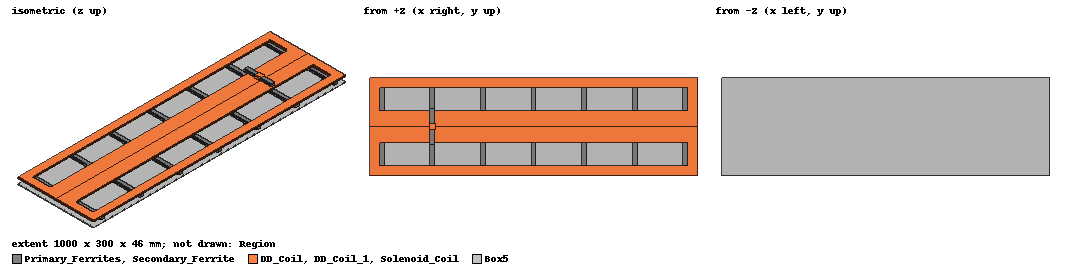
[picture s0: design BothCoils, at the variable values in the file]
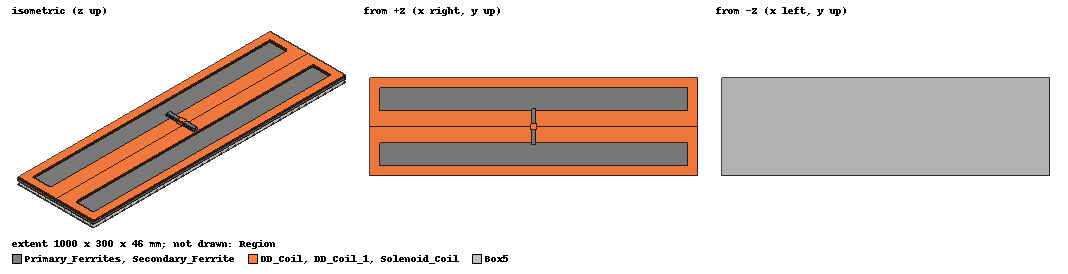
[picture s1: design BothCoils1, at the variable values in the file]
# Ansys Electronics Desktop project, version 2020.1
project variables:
  $P1 = 10mm
  $track_width = 300mm
  $box_width = ($track_width - 2*$parameter_2 - $parameter_1) / 2  # Do not change -Width of inner gaps
  $coil_diameter = 5mm  # Thickness of coil
  $parameter_1 = 100mm  # DD Coil Centre width
  $parameter_2 = 30mm  # DD Coil side width
  $Parameter_3 = 109mm  # Ferrite length secondary
  $Parameter_4 = 20mm  # Coil width secondary
  $parameter_5 = ($track_length - 2 * $parameter_2-15mm) / ($Num_Ferrites - 1)  # Do not change - spacing between ferrites
  $Parameter_6 = 300mm  # Ferrite length Primary 109 or 218
  $Num_Ferrites = 7  # ((1000mm - 2 * $parameter_2) / ($parameter_5)) + 1
  $track_length = 1000mm  # Length of the track
  $Air_Gap = 15mm  # Height of secondary solenoid above primary DD coil
  $X_displacement = 0mm  # Displacement of secondary solenoid X-axis(0 to length of track)
  $Y_displacement = 0mm  # displacement of secondary along y-axis
  $parameter_5_local = ($track_length - 2 * $parameter_2-15mm) / (7 -1)
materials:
  vacuum: permittivity=1
  copper: permeability=0.999991 conductivity=58000000
  ferrite: permittivity=12 permeability=1000 conductivity=0.01
  pec: conductivity=1e+30
  aluminum: permeability=1.000021 conductivity=38000000

design BothCoils (Maxwell 3D, EddyCurrent, model units mm)
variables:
  b1_y = 50mm
  box1width = 30mm
  box2width = $box_width
  coil_diameter = $coil_diameter
  P_2 = $parameter_2
  P_1 = ($parameter_1)
  Parameter_3 = $Parameter_3
  height_above_coil = 9mm
  Parameter_4 = $Parameter_4
  I_pt_post = 20A
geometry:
  DD_Coil [copper] = box(corner=(-$track_length / 2, 0mm, 0mm), size=($track_length, $track_width / 2, coil_diameter))
  Box3 = box(corner=(-(1000mm-$parameter_2*2)/2, $parameter_1 /2, 0mm), size=(1000mm-$parameter_2*2, box2width, coil_diameter))
  Box3_1 = Box3.duplicate_mirror(point=(100mm, 150mm, 0mm), normal=(0mm, -1mm, 0mm))
  DD_Coil.subtract(Box3, Box3_1)
  Primary_Ferrites [ferrite] = box(corner=(-(1000mm-$parameter_2*2)/2, -$Parameter_6/2, -8mm), size=(15mm, $Parameter_6, 8mm))
  Primary_Ferrites.duplicate_along_line(step=($parameter_5, 0mm, 0mm), total=$Num_Ferrites, attached)
  DD_Coil_1 [copper] = DD_Coil.duplicate_mirror(point=(0mm, 0mm, 0mm), normal=(0mm, -1mm, 0mm))
  Region [vacuum] = region(percentage_offset: +X=100, -X=100, +Y=500, -Y=500, +Z=3000, -Z=2000)
  coordinate_system RelativeCS1 = origin=(-2*($track_length - 2 * $parameter_2-15mm) / ($Num_Ferrites - 1)+$X_displacement, $Y_displacement, $Air_Gap) x=(1mm, 0mm, 0mm) y=(0mm, 1mm, 0mm)
  Secondary_Ferrite [ferrite, oriented by RelativeCS1] = box(corner=(-54.5mm, -7.5mm, 1.5mm), size=(Parameter_3, 15mm, 8mm)) in RelativeCS1
  Solenoid_Coil [copper, oriented by RelativeCS1] = box(corner=(-$Parameter_4/2, -9mm, 0), size=(Parameter_4, 18mm, 11mm)) in RelativeCS1
  Box4 = box(corner=(-$Parameter_4/2, -7.5mm, 1.5mm), size=(Parameter_4, 15mm, 8mm)) in RelativeCS1
  Solenoid_Coil.subtract(Box4)
  [Secondary_Ferrite, Solenoid_Coil].rotate(axis=Z, angle=270deg) in RelativeCS1
  DD_Coil_1_Section1 = DD_Coil_1.section(plane=YZ)
  DD_Coil_Section1 = DD_Coil.section(plane=YZ)
  DD_Coil_1_Section1_Separate1 [copper] = DD_Coil_1_Section1.separate_bodies()
  DD_Coil_1_Section1.delete()
  DD_Coil_Section1_Separate1 [copper] = DD_Coil_Section1.separate_bodies()
  DD_Coil_Section1.delete()
  Box5 [pec] = box(corner=(500mm, -150mm, -18mm), size=(-1000mm, 300mm, -2mm))
  Solenoid_Coil_Section1 [copper, oriented by RelativeCS1] = Solenoid_Coil.section(plane=YZ) in RelativeCS1
  Solenoid_Coil_Section1.separate_bodies()
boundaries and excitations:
  Insulating1: Insulating Faces=DD_Coil.face(-y)
  Aluminium: Impedance Objects=Box5 UseMaterial MaterialName=aluminum NonlinearCoefficient=5
  Lpt_A: Current Objects=DD_Coil_1_Section1_Separate1 Phase=0deg Current=1A IsSolid=false Point_out_of_terminal=false
  Lst: Current Objects=Solenoid_Coil_Section1 Phase=0deg Current=1A IsSolid=false Point_out_of_terminal=false
  Lpt_B: Current Objects=DD_Coil_Section1_Separate1 Phase=0deg Current=1A IsSolid=false Point_out_of_terminal=false
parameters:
  Matrix1: Matrix Lpt_A, Lst, Lpt_B:
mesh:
  initial mesh: GlobalCurvilinear{Apply}
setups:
  Setup1: EddyCurrent MaximumPasses=19 MinimumPasses=2 MinimumConvergedPasses=1 PercentRefinement=30 PercentError=1 NonLinearResidual=0.0001 Frequency=150kHz
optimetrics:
  ParametricSetup: Parametric Sim._Setups=[Setup1]
    sweep $X_displacement: LIN 0mm 100mm 10mm
    sweep $Y_displacement: LIN 0mm 50mm 10mm
    calculate Lpt_new on Setup1 : LastAdaptive at Freq 150kHz
    calculate L_st on Setup1 : LastAdaptive at Freq 150kHz
    calculate k_new on Setup1 : LastAdaptive at Freq 150kHz
    calculate Mpt_st on Setup1 : LastAdaptive at Freq 150kHz
    calculate VA_pt on Setup1 : LastAdaptive at Freq 150kHz
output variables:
  Mpt_st = Matrix1.Lnom(Lpt_A,Lst)+Matrix1.Lnom(Lpt_B,Lst)
  Lpt_new = Matrix1.Lnom(Lpt_A,Lpt_A)+Matrix1.Lnom(Lpt_B,Lpt_B)+Matrix1.Lnom(Lpt_B,Lpt_A)+Matrix1.Lnom(Lpt_A,Lpt_B)
  k_new = Mpt_st/sqrt(Lpt_new*L_st)
  M = 5*10*L_st*Lpt_new
  I_pt = 20
  VA_pt = 20*20*150000*2*pi*Lpt_new
  L_st = Matrix1.Lnom(Lst,Lst)
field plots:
  ComplexMag_B1: B in DD_Coil, DD_Coil_1 on Setup1 : LastAdaptive at Freq=150kHz Phase=0deg
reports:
  Output Variables Plot 1: k_new vs $Y_displacement on Setup1 : LastAdaptive [Freq=all $X_displacement=all]

design BothCoils1 (Maxwell 3D, EddyCurrent, model units mm)
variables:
  b1_y = 50mm
  box1width = 30mm
  box2width = $box_width
  coil_diameter = $coil_diameter
  P_2 = $parameter_2
  P_1 = ($parameter_1)
  Parameter_3 = $Parameter_3
  height_above_coil = 9mm
  Parameter_4 = $Parameter_4
  I_pt_post = 20A
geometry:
  DD_Coil [copper] = box(corner=(-$track_length / 2, 0mm, 0mm), size=($track_length, $track_width / 2, coil_diameter))
  Box3 = box(corner=(-(1000mm-$parameter_2*2)/2, $parameter_1 /2, 0mm), size=(1000mm-$parameter_2*2, box2width, coil_diameter))
  Box3_1 = Box3.duplicate_mirror(point=(100mm, 150mm, 0mm), normal=(0mm, -1mm, 0mm))
  DD_Coil.subtract(Box3, Box3_1)
  Primary_Ferrites [ferrite] = box(corner=(-500mm, -$Parameter_6/2, -8mm), size=(1000mm, 300mm, 8mm))
  DD_Coil_1 [copper] = DD_Coil.duplicate_mirror(point=(0mm, 0mm, 0mm), normal=(0mm, -1mm, 0mm))
  Region [vacuum] = region(percentage_offset: +X=100, -X=100, +Y=500, -Y=500, +Z=3000, -Z=2000)
  coordinate_system RelativeCS1 = origin=(-$X_displacement, $Y_displacement, $Air_Gap) x=(1mm, 0mm, 0mm) y=(0mm, 1mm, 0mm)
  Secondary_Ferrite [ferrite, oriented by RelativeCS1] = box(corner=(-54.5mm + $Y_displacement, -7.5mm +$X_displacement, $Air_Gap+1.5mm), size=(Parameter_3, 15mm, 8mm))
  Solenoid_Coil [copper, oriented by RelativeCS1] = box(corner=(-$Parameter_4/2 +$Y_displacement, -9mm+$X_displacement, $Air_Gap), size=(Parameter_4, 18mm, 11mm))
  Box4 = box(corner=(-$Parameter_4/2 +$Y_displacement, -7.5mm+$X_displacement, $Air_Gap+1.5mm), size=(Parameter_4, 15mm, 8mm))
  Solenoid_Coil.subtract(Box4)
  [Secondary_Ferrite, Solenoid_Coil].rotate(axis=Z, angle=90deg)
  DD_Coil_1_Section1 = DD_Coil_1.section(plane=YZ)
  DD_Coil_Section1 = DD_Coil.section(plane=YZ)
  DD_Coil_1_Section1_Separate1 [copper] = DD_Coil_1_Section1.separate_bodies()
  DD_Coil_1_Section1.delete()
  DD_Coil_Section1_Separate1 [copper] = DD_Coil_Section1.separate_bodies()
  DD_Coil_Section1.delete()
  Box5 [pec] = box(corner=(500mm, -150mm, -18mm), size=(-1000mm, 300mm, -2mm))
  Solenoid_Coil_Section1 [copper, oriented by RelativeCS1] = Solenoid_Coil.section(plane=YZ) in RelativeCS1
  Solenoid_Coil_Section1.separate_bodies()
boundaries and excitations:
  Insulating1: Insulating Faces=DD_Coil.face(-y)
  Aluminium: Impedance Objects=Box5 UseMaterial MaterialName=aluminum NonlinearCoefficient=5
  Lpt_A: Current Objects=DD_Coil_1_Section1_Separate1 Phase=0deg Current=1A IsSolid=false Point_out_of_terminal=false
  Lpt_B: Current Objects=DD_Coil_Section1_Separate1 Phase=0deg Current=1A IsSolid=false Point_out_of_terminal=false
  Lst: Current Objects=Solenoid_Coil_Section1 Phase=0deg Current=1A IsSolid=false Point_out_of_terminal=false
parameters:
  Matrix1: Matrix Lpt_A, Lpt_B, Lst:
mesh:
  initial mesh: GlobalCurvilinear{Apply}
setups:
  Setup1: EddyCurrent MaximumPasses=19 MinimumPasses=2 MinimumConvergedPasses=1 PercentRefinement=30 PercentError=1 NonLinearResidual=0.0001 Frequency=150kHz
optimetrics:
  ParametricSetup1: Parametric disabled
    sweep $parameter_1: LIN 20mm 100mm 20mm
    sweep $parameter_2: LIN 10mm 50mm 10mm
    sweep $Parameter_4: LIN 10mm 30mm 10mm
    sweep $Num_Ferrites: LIN 2 10 1
    sweep $Parameter_6: LIN 109mm 218mm 109mm
    calculate k_new on ?
    calculate Lpt_new on ?
    calculate L_st on ?
  ParametricSetup2: Parametric disabled
    sweep $parameter_1: LIN 20mm 100mm 40mm
    sweep $parameter_2: LIN 10mm 50mm 20mm
    sweep $Parameter_4: LIN 10mm 30mm 10mm
    sweep $Num_Ferrites: LIN 2 12 4
    sweep $Parameter_6: LIN 109mm 218mm 109mm
    calculate k_new on ?
    calculate Mpt_st on ?
  ParametricSetup3: Parametric Sim._Setups=[Setup1]
    sweep $X_displacement: LIN 0mm 45mm 9mm
    sweep $Y_displacement: LIN 0mm 50mm 10mm
    calculate Lpt_new on Setup1 : LastAdaptive at Freq 150kHz
    calculate L_st on Setup1 : LastAdaptive at Freq 150kHz
    calculate k_new on Setup1 : LastAdaptive at Freq 150kHz
    calculate Mpt_st on Setup1 : LastAdaptive at Freq 150kHz
    calculate VA_pt on Setup1 : LastAdaptive at Freq 150kHz
  ParametricSetup4: Parametric disabled Sim._Setups=[Setup1]
    sweep $parameter_1: LIN 50mm 100mm 30mm
    sweep $parameter_2: LIN 10mm 30mm 10mm
    calculate L_st on Setup1 : LastAdaptive at Freq 100kHz
    calculate Lpt_new on Setup1 : LastAdaptive at Freq 100kHz
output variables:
  Mpt_st = Matrix1.Lnom(Lpt_A,Lst)+Matrix1.Lnom(Lpt_B,Lst)
  Lpt_new = Matrix1.Lnom(Lpt_A,Lpt_A)+Matrix1.Lnom(Lpt_B,Lpt_B)+Matrix1.Lnom(Lpt_B,Lpt_A)+Matrix1.Lnom(Lpt_A,Lpt_B)
  k_new = Mpt_st/sqrt(Lpt_new*L_st)
  M = 5*10*L_st*Lpt_new
  I_pt = 20
  VA_pt = 20*20*150000*2*pi*Lpt_new
  L_st = Matrix1.Lnom(Lst,Lst)
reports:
  Output Variables Plot 1: k_new vs $Y_displacement on Setup1 : LastAdaptive [$X_displacement=all Freq=all]
